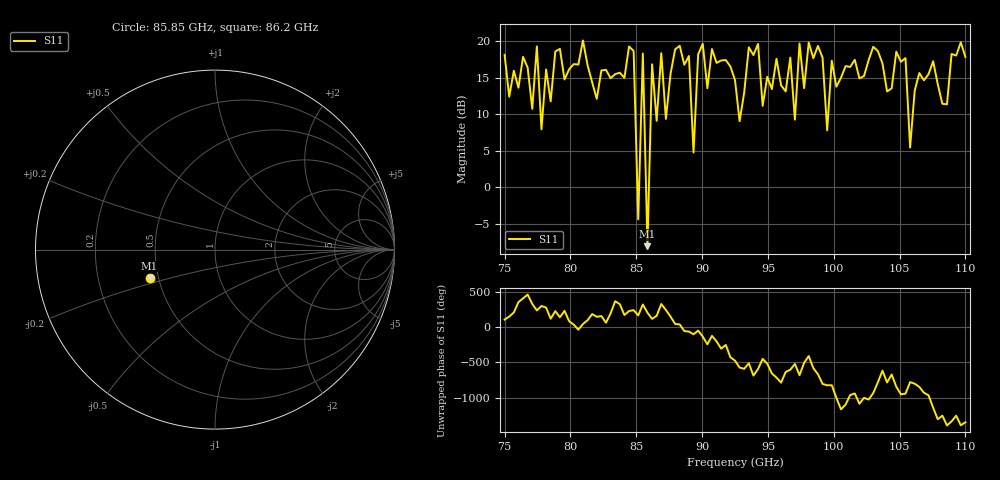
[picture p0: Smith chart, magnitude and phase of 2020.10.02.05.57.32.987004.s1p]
!Created with skrf (http://scikit-rf.org).
# GHz S RI R 50.0
!freq ReS11 ImS11
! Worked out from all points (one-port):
!   101 points, 75 GHz to 110 GHz, reference 50 ohm
!   lowest |S11| = -8.0 dB at 85.85 GHz (marker M1), VSWR 2.32, Z = 22.3 - j8.36 ohm
!   |S11| at or under -10 dB: nowhere
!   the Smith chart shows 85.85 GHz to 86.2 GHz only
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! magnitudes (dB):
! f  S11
! 75 GHz  18.1
! 77.1 GHz  10.7
! 77.45 GHz  19.3
! 77.8 GHz  8.0
! 79.55 GHz  14.7
! 83.75 GHz  15.7
! 84.8 GHz  18.7
! 85.15 GHz  -4.4
! 85.5 GHz  18.3
! 85.85 GHz  -8.0
! 86.2 GHz  16.8
! 87.25 GHz  9.4
! 88.3 GHz  19.4
! 89 GHz  18.0
! 89.35 GHz  4.8
! 90.05 GHz  19.6
! 92.5 GHz  14.7
! 96.7 GHz  17.7
! 97.05 GHz  9.3
! 97.4 GHz  19.7
! 99.15 GHz  17.7
! 99.5 GHz  7.8
! 99.85 GHz  17.3
! 101.2 GHz  16.5
! 105.5 GHz  17.7
! 105.8 GHz  5.4
! 106.5 GHz  15.6
! 110 GHz  17.8
